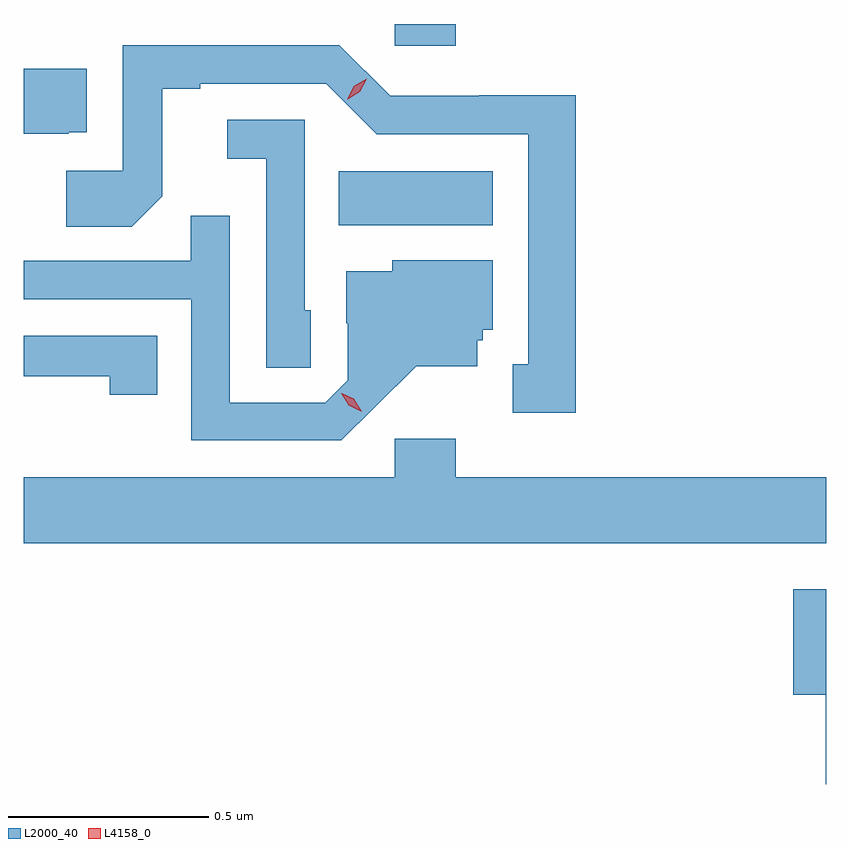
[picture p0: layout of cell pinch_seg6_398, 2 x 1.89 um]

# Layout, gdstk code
import gdstk
lib = gdstk.Library(unit=1e-6, precision=1e-09)
def R(c, l, rs):  # rectangles x0, y0, x1, y1
    for r in rs: c.add(gdstk.rectangle(r[:2], r[2:], *l))
def P(c, l, *ps):  # polygons
    for p in ps: c.add(gdstk.Polygon(p, *l))
L2000_40 = (2000, 40)
L4158_0 = (4158, 0)

pinch_seg6_398 = lib.new_cell('pinch_seg6_398')
R(pinch_seg6_398, L2000_40, [(639.976,928.148,640.36,928.282), (640.116,928.595,640.268,928.649)])
P(pinch_seg6_398, L2000_40, [(640.567,928.472),(640.326,928.472),(640.326,928.47),(640.104,928.47),(639.978,928.596),(639.438,928.596),(639.438,928.284),(639.297,928.284),(639.297,928.144),(639.461,928.144),(639.537,928.22),(639.537,928.488),(639.631,928.488),(639.631,928.5),(639.945,928.5),(640.071,928.374),(640.448,928.374),(640.448,927.801),(640.409,927.801),(640.409,927.681),(640.567,927.681)],
  [(639.305,928.379),(639.349,928.379),(639.349,928.537),(639.191,928.537),(639.191,928.376),(639.302,928.376)],
  [(639.906,927.936),(639.891,927.936),(639.891,928.41),(639.699,928.41),(639.699,928.313),(639.795,928.313),(639.795,927.793),(639.906,927.793)],
  [(640.066,927.695),(640.169,927.797),(640.321,927.797),(640.321,927.861),(640.335,927.861),(640.335,927.888),(640.36,927.888),(640.36,928.06),(640.11,928.06),(640.11,928.033),(639.995,928.033),(639.995,927.904),(639.999,927.904),(639.999,927.762),(639.942,927.705),(639.705,927.705),(639.705,928.172),(639.607,928.172),(639.607,928.059),(639.191,928.059),(639.191,927.963),(639.609,927.963),(639.609,927.612),(639.982,927.612)],
  [(639.524,927.873),(639.191,927.873),(639.191,927.772),(639.406,927.772),(639.406,927.726),(639.524,927.726)],
  [(641.191,927.52),(640.268,927.52),(640.268,927.616),(640.116,927.616),(640.116,927.52),(639.191,927.52),(639.191,927.356),(641.191,927.356)],
  [(641.191,927.241),(641.108,927.241),(641.108,926.978),(641.189,926.978),(641.189,926.756),(641.191,926.756)])
P(pinch_seg6_398, L4158_0, [(639.997,928.461),(639.997,928.461),(640.014,928.494),(640.046,928.513),(640.046,928.513),(640.046,928.513),(640.029,928.48),(639.998,928.461)],
  [(640.031,927.685),(640.001,927.7),(639.983,927.729),(639.983,927.729),(639.984,927.729),(640.014,927.715),(640.032,927.686),(640.032,927.685)])

lib.write_gds('pinch_seg6_398.gds')
